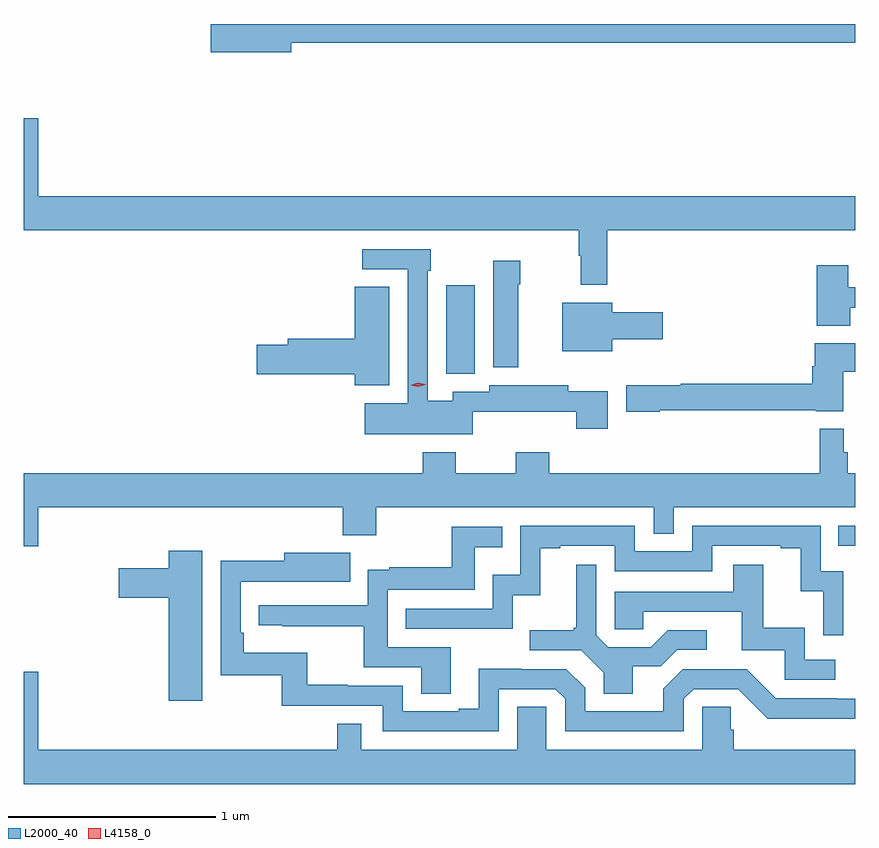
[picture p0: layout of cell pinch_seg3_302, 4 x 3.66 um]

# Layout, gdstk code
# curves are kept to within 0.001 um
import gdstk
lib = gdstk.Library(unit=1e-6, precision=1e-09)
def R(c, l, rs):  # rectangles x0, y0, x1, y1
    for r in rs: c.add(gdstk.rectangle(r[:2], r[2:], *l))
def P(c, l, *ps):  # polygons
    for p in ps: c.add(gdstk.Polygon(p, *l))
L2000_40 = (2000, 40)
L4158_0 = (4158, 0)

pinch_seg3_302 = lib.new_cell('pinch_seg3_302')
R(pinch_seg3_302, L2000_40, [(984.205,715.383,984.286,715.479), (982.319,716.209,982.456,716.635)])
P(pinch_seg3_302, L2000_40, [(981.574,717.802),(984.286,717.802),(984.286,717.892),(981.186,717.892),(981.186,717.755),(981.574,717.755)],
  [(983.093,716.9),(984.286,716.9),(984.286,717.064),(980.356,717.064),(980.356,717.439),(980.286,717.439),(980.286,716.9),(982.957,716.9),(982.957,716.777),(982.965,716.777),(982.965,716.637),(983.093,716.637)],
  [(982.446,716.027),(982.943,716.027),(982.943,715.944),(983.095,715.944),(983.095,716.126),(982.906,716.126),(982.906,716.155),(982.526,716.155),(982.526,716.124),(982.35,716.124),(982.35,716.08),(982.23,716.08),(982.23,716.705),(982.243,716.705),(982.243,716.808),(981.915,716.808),(981.915,716.712),(982.134,716.712),(982.134,716.068),(981.927,716.068),(981.927,715.919),(982.446,715.919)],
  [(982.666,716.639),(982.674,716.639),(982.674,716.752),(982.544,716.752),(982.544,716.24),(982.666,716.24)],
  [(984.261,716.528),(984.286,716.528),(984.286,716.625),(984.253,716.625),(984.253,716.731),(984.101,716.731),(984.101,716.441),(984.261,716.441)],
  [(982.045,716.627),(981.878,716.627),(981.878,716.378),(981.557,716.378),(981.557,716.348),(981.408,716.348),(981.408,716.206),(981.878,716.206),(981.878,716.153),(982.045,716.153)],
  [(983.116,716.375),(983.359,716.375),(983.359,716.505),(983.116,716.505),(983.116,716.551),(982.877,716.551),(982.877,716.318),(983.116,716.318)],
  [(983.346,716.034),(984.096,716.034),(984.096,716.03),(984.229,716.03),(984.229,716.218),(984.286,716.218),(984.286,716.356),(984.092,716.356),(984.092,716.246),(984.08,716.246),(984.08,716.162),(983.446,716.162),(983.446,716.155),(983.184,716.155),(983.184,716.026),(983.346,716.026)],
  [(980.356,715.568),(981.821,715.568),(981.821,715.433),(981.981,715.433),(981.981,715.568),(983.316,715.568),(983.316,715.441),(983.412,715.441),(983.412,715.568),(984.286,715.568),(984.286,715.732),(984.251,715.732),(984.251,715.833),(984.231,715.833),(984.231,715.945),(984.115,715.945),(984.115,715.732),(982.814,715.732),(982.814,715.831),(982.654,715.831),(982.654,715.732),(982.365,715.732),(982.365,715.831),(982.205,715.831),(982.205,715.732),(980.286,715.732),(980.286,715.38),(980.356,715.38)],
  [(984.228,715.26),(984.12,715.26),(984.12,715.479),(983.502,715.479),(983.502,715.356),(983.226,715.356),(983.226,715.479),(982.674,715.479),(982.674,715.243),(982.542,715.243),(982.542,715.08),(982.123,715.08),(982.123,714.984),(982.638,714.984),(982.638,715.145),(982.771,715.145),(982.771,715.371),(982.867,715.371),(982.867,715.383),(983.13,715.383),(983.13,715.26),(983.598,715.26),(983.598,715.383),(983.927,715.383),(983.927,715.371),(984.023,715.371),(984.023,715.163),(984.132,715.163),(984.132,714.951),(984.228,714.951)],
  [(982.339,714.894),(982.038,714.894),(982.038,715.17),(982.455,715.17),(982.455,715.376),(982.589,715.376),(982.589,715.473),(982.344,715.473),(982.344,715.279),(982.045,715.279),(982.045,715.267),(981.942,715.267),(981.942,715.095),(981.417,715.095),(981.417,714.999),(981.529,714.999),(981.529,714.994),(981.922,714.994),(981.922,714.798),(982.199,714.798),(982.199,714.67),(982.339,714.67)],
  [(981.145,715.357),(980.984,715.357),(980.984,715.275),(980.742,715.275),(980.742,715.133),(980.984,715.133),(980.984,714.636),(981.145,714.636)],
  [(982.572,714.693),(982.842,714.693),(982.89,714.645),(982.89,714.489),(983.46,714.489),(983.46,714.645),(983.508,714.693),(983.724,714.693),(983.866,714.551),(984.102,714.551),(984.102,714.549),(984.286,714.549),(984.286,714.645),(984.197,714.645),(984.197,714.648),(983.904,714.648),(983.763,714.789),(983.457,714.789),(983.363,714.695),(983.363,714.585),(982.986,714.585),(982.986,714.699),(982.896,714.789),(982.68,714.789),(982.68,714.791),(982.475,714.791),(982.475,714.598),(982.379,714.598),(982.379,714.585),(982.11,714.585),(982.11,714.708),(981.845,714.708),(981.845,714.713),(981.649,714.713),(981.649,714.868),(981.344,714.868),(981.344,714.964),(981.33,714.964),(981.33,715.209),(981.857,715.208),(981.857,715.348),(981.539,715.348),(981.539,715.31),(981.234,715.31),(981.234,714.759),(981.528,714.759),(981.528,714.612),(982.014,714.612),(982.014,714.489),(982.572,714.489)],
  [(983.215,714.802),(983.35,714.802),(983.43,714.882),(983.572,714.882),(983.572,714.975),(983.384,714.975),(983.303,714.894),(983.097,714.894),(983.04,714.951),(983.04,715.291),(982.943,715.291),(982.943,714.988),(982.932,714.988),(982.932,714.976),(982.719,714.976),(982.719,714.879),(982.968,714.879),(983.075,714.772),(983.075,714.67),(983.215,714.67)],
  [(984.19,714.834),(984.042,714.834),(984.042,714.988),(983.843,714.988),(983.843,715.291),(983.699,715.291),(983.699,715.161),(983.13,715.161),(983.13,714.981),(983.267,714.981),(983.267,715.065),(983.741,715.065),(983.741,714.879),(983.946,714.879),(983.946,714.738),(984.19,714.738)],
  [(984.286,714.4),(983.702,714.4),(983.702,714.498),(983.687,714.498),(983.687,714.608),(983.55,714.608),(983.55,714.4),(982.8,714.4),(982.8,714.608),(982.661,714.608),(982.661,714.4),(981.909,714.4),(981.909,714.527),(981.793,714.527),(981.793,714.4),(980.356,714.4),(980.356,714.775),(980.286,714.775),(980.286,714.236),(984.286,714.236)])
P(pinch_seg3_302, L4158_0, [(982.183,716.146),(982.148,716.155),(982.148,716.155),(982.148,716.155),(982.182,716.166),(982.217,716.158),(982.217,716.157),(982.217,716.157)])

lib.write_gds('pinch_seg3_302.gds')
